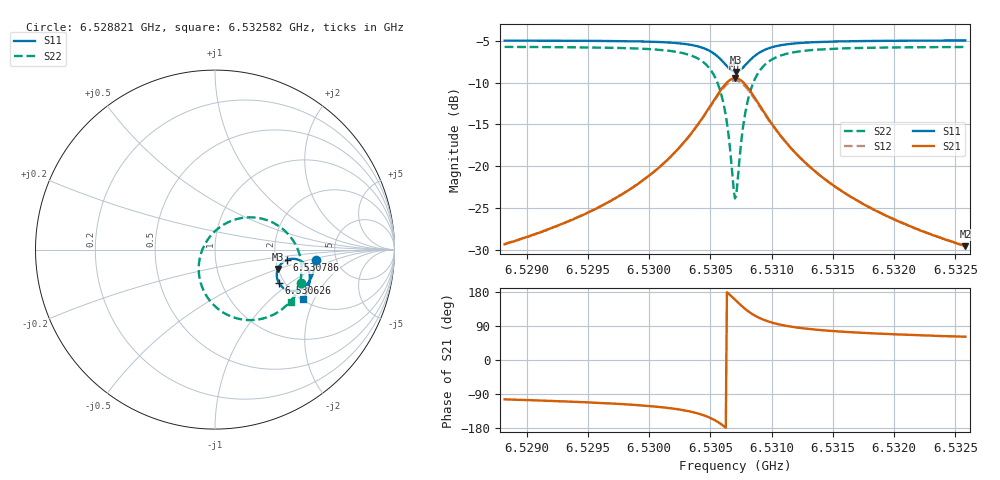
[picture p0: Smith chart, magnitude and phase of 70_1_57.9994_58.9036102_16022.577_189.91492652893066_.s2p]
#  HZ  S  RI  R  50.00
! Rohde & Schwarz Vector Network Analyzer
! Rohde-Schwarz,ZNB20-2Port,1311601062101988,3.16
! Created: UTC 3/21/2024, 12:53:21 AM
! freq[Hz]  re:S11  im:S11  re:S21  im:S21  re:S12  im:S12  re:S22  im:S22
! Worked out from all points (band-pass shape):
!   401 points, 6.528821 GHz to 6.532582 GHz, reference 50 ohm
!   highest |S21| = -9.48 dB at 6.530701 GHz (marker M1); lowest = -29.6 dB at 6.532582 GHz (marker M2)
!   |S21| within 3 dB of the highest: 6.530514 GHz to 6.530891 GHz (376.6 kHz wide, 0.00577 % of centre)
!   lowest |S11| = -8.7 dB at 6.530711 GHz (marker M3), VSWR 2.16, Z = 99.6 - j25 ohm
!   |S11| at or under -10 dB: nowhere
!   |S22| runs from -23.9 to -5.7 dB; largest |S21 - S12| = 0.014
!   S11 on the Smith chart (normalised r, x): 6.528821 GHz: 3.48, -0.58; 6.530626 GHz: 1.87, -0.84; 6.530786 GHz: 2.29, -0.32; 6.532582 GHz: 2.04, -1.66
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6.5288211e9  0.5607 -0.0574  -0.00816 -0.033  -0.0089 -0.033  0.4816 -0.1882
6.5294509e9  0.5512 -0.1116  -0.0182 -0.0472  -0.0195 -0.0469  0.449 -0.2502
6.5298082e9  0.54 -0.1468  -0.0317 -0.0621  -0.0334 -0.0615  0.4138 -0.2957
6.5300808e9  0.5236 -0.1788  -0.0546 -0.0813  -0.0571 -0.0798  0.3619 -0.3409
6.5303065e9  0.4938 -0.2108  -0.1007 -0.1041  -0.1038 -0.1005  0.269 -0.3836
6.5304663e9  0.4451 -0.23  -0.1785 -0.1102  -0.181 -0.1025  0.1265 -0.3843
6.5305603e9  0.3949 -0.2213  -0.2569 -0.0773  -0.2553 -0.0659  -0.00311 -0.3125
6.5306261e9  0.3575 -0.1875  -0.3112 -0.00733  -0.3033 0.00389  -0.0801 -0.184
6.5306543e9  0.3472 -0.1638  -0.3233 0.0371  -0.3128 0.0465  -0.0908 -0.1082
6.5306825e9  0.3442 -0.1364  -0.3225 0.0866  -0.3102 0.0929  -0.0796 -0.0274
6.5307013e9  0.3471 -0.1176  -0.3139 0.1193  -0.3009 0.1234  -0.059 0.0248
6.5307107e9  0.3499 -0.1086  -0.3072 0.1352  -0.2943 0.1379  -0.0449 0.0491
6.5307201e9  0.3538 -0.0999  -0.2988 0.1499  -0.2861 0.1517  -0.0286 0.0719
6.5307577e9  0.3766 -0.0715  -0.2544 0.198  -0.2436 0.196  0.0532 0.1422
6.5307859e9  0.3984 -0.0583  -0.2149 0.2197  -0.2061 0.216  0.1223 0.1705
6.5308517e9  0.4471 -0.0522  -0.1294 0.2296  -0.1249 0.2256  0.2669 0.1709
6.5309458e9  0.4922 -0.0725  -0.0527 0.1989  -0.0508 0.1965  0.3919 0.1021
6.5310868e9  0.5196 -0.1097  -0.00561 0.1476  -0.00434 0.1469  0.4624 -0.00177
6.5313312e9  0.5286 -0.1564  0.015 0.095  0.0162 0.0947  0.4827 -0.1117
6.5316227e9  0.5243 -0.1937  0.0187 0.0645  0.0197 0.0643  0.4738 -0.1823
6.5319611e9  0.5148 -0.2269  0.0182 0.0458  0.0189 0.0457  0.4571 -0.2329
6.5325816e9  0.493 -0.2765  0.0158 0.0291  0.0165 0.0289  0.4248 -0.2935
